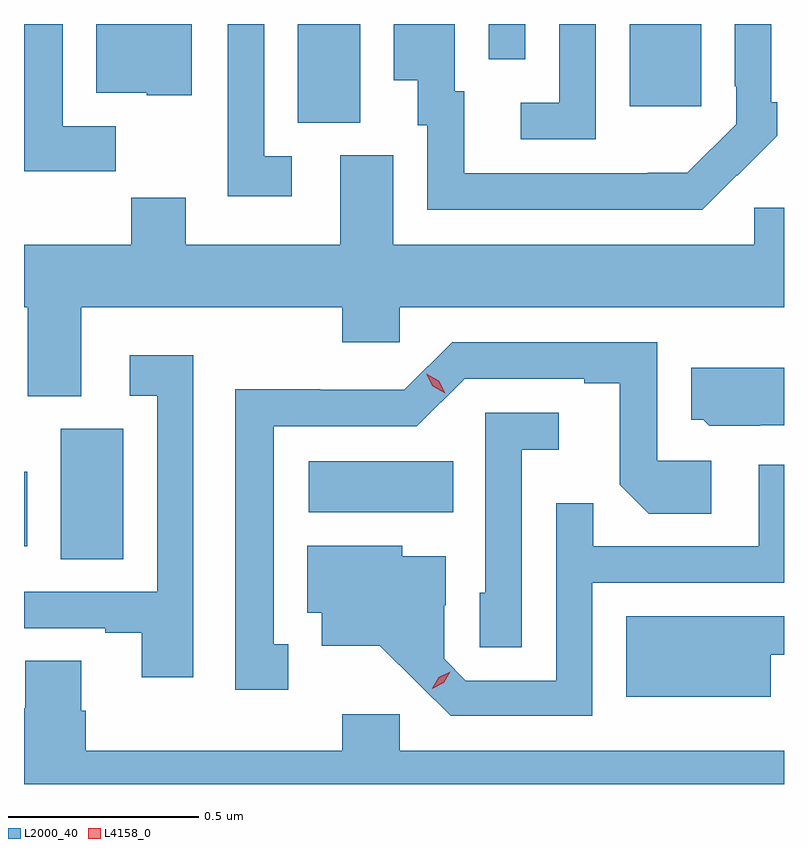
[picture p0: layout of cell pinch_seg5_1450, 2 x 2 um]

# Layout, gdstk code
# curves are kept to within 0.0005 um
import gdstk
lib = gdstk.Library(unit=1e-6, precision=1e-09)
def R(c, l, rs):  # rectangles x0, y0, x1, y1
    for r in rs: c.add(gdstk.rectangle(r[:2], r[2:], *l))
def P(c, l, *ps):  # polygons
    for p in ps: c.add(gdstk.Polygon(p, *l))
L2000_40 = (2000, 40)
L4158_0 = (4158, 0)

pinch_seg5_1450 = lib.new_cell('pinch_seg5_1450')
R(pinch_seg5_1450, L2000_40, [(161.144,896.056,161.308,896.4), (161.047,896.091,161.056,896.287), (161.796,896.18,162.176,896.314), (161.768,897.205,161.932,897.465), (162.641,897.249,162.829,897.465), (162.27,897.372,162.366,897.465)])
P(pinch_seg5_1450, L2000_40, [(162.552,897.465),(162.456,897.465),(162.456,897.258),(162.354,897.258),(162.354,897.162),(162.552,897.162)],
  [(162.923,897.067),(162.924,897.066),(163.029,897.171),(163.029,897.259),(163.014,897.259),(163.014,897.465),(162.918,897.465),(162.918,897.301),(162.921,897.301),(162.921,897.201),(162.793,897.073),(162.689,897.073),(162.689,897.072),(162.205,897.072),(162.205,897.288),(162.181,897.288),(162.181,897.465),(162.02,897.465),(162.02,897.317),(162.083,897.317),(162.083,897.198),(162.108,897.198),(162.108,896.976),(162.832,896.976)],
  [(161.752,897.117),(161.679,897.117),(161.679,897.465),(161.583,897.465),(161.583,897.012),(161.752,897.012)],
  [(161.288,897.196),(161.149,897.196),(161.149,897.465),(161.047,897.465),(161.047,897.078),(161.288,897.078)],
  [(161.488,897.465),(161.237,897.465),(161.237,897.284),(161.37,897.284),(161.37,897.278),(161.488,897.278)],
  [(161.197,896.72),(161.885,896.72),(161.885,896.627),(162.036,896.627),(162.036,896.72),(163.047,896.72),(163.047,896.982),(162.969,896.982),(162.969,896.884),(162.019,896.884),(162.019,897.12),(161.879,897.12),(161.879,896.884),(161.473,896.884),(161.473,897.008),(161.329,897.008),(161.329,896.884),(161.047,896.884),(161.047,896.72),(161.057,896.72),(161.057,896.485),(161.197,896.485)],
  [(161.743,895.833),(161.704,895.833),(161.704,896.406),(162.081,896.406),(162.207,896.532),(162.521,896.532),(162.521,896.52),(162.615,896.52),(162.615,896.252),(162.691,896.176),(162.856,896.176),(162.856,896.316),(162.714,896.316),(162.714,896.628),(162.174,896.628),(162.048,896.502),(161.826,896.502),(161.826,896.504),(161.603,896.504),(161.603,895.713),(161.743,895.713)],
  [(161.493,896.593),(161.325,896.593),(161.325,896.487),(161.397,896.487),(161.397,895.971),(161.047,895.971),(161.047,895.875),(161.261,895.875),(161.261,895.863),(161.357,895.863),(161.357,895.746),(161.493,895.746)],
  [(162.984,896.409),(163.047,896.409),(163.047,896.56),(162.803,896.56),(162.803,896.424),(162.834,896.424),(162.85,896.408),(162.984,896.408)],
  [(162.357,896.345),(162.454,896.345),(162.454,896.442),(162.261,896.442),(162.261,895.968),(162.246,895.968),(162.246,895.825),(162.357,895.825)],
  [(162.543,895.995),(163.047,895.995),(163.047,896.305),(162.981,896.305),(162.981,896.091),(162.545,896.091),(162.545,896.204),(162.447,896.204),(162.447,895.737),(162.21,895.737),(162.153,895.794),(162.153,895.936),(162.157,895.936),(162.157,896.065),(162.042,896.065),(162.042,896.092),(161.792,896.092),(161.792,895.916),(161.831,895.916),(161.831,895.829),(161.983,895.829),(162.17,895.644),(162.543,895.644)],
  [(163.012,895.805),(163.047,895.805),(163.047,895.906),(162.632,895.906),(162.632,895.694),(163.012,895.694)],
  [(163.047,895.552),(162.036,895.552),(162.036,895.648),(161.885,895.648),(161.885,895.552),(161.21,895.552),(161.21,895.658),(161.197,895.658),(161.197,895.79),(161.05,895.79),(161.05,895.665),(161.047,895.665),(161.047,895.465),(163.047,895.465)])
P(pinch_seg5_1450, L4158_0, [(162.121,895.716),(162.121,895.717),(162.138,895.746),(162.169,895.761),(162.169,895.761),(162.169,895.761),(162.152,895.732),(162.121,895.716)],
  [(162.155,896.493),(162.123,896.512),(162.106,896.545),(162.106,896.545),(162.106,896.545),(162.138,896.526),(162.155,896.493),(162.155,896.493)])

lib.write_gds('pinch_seg5_1450.gds')
